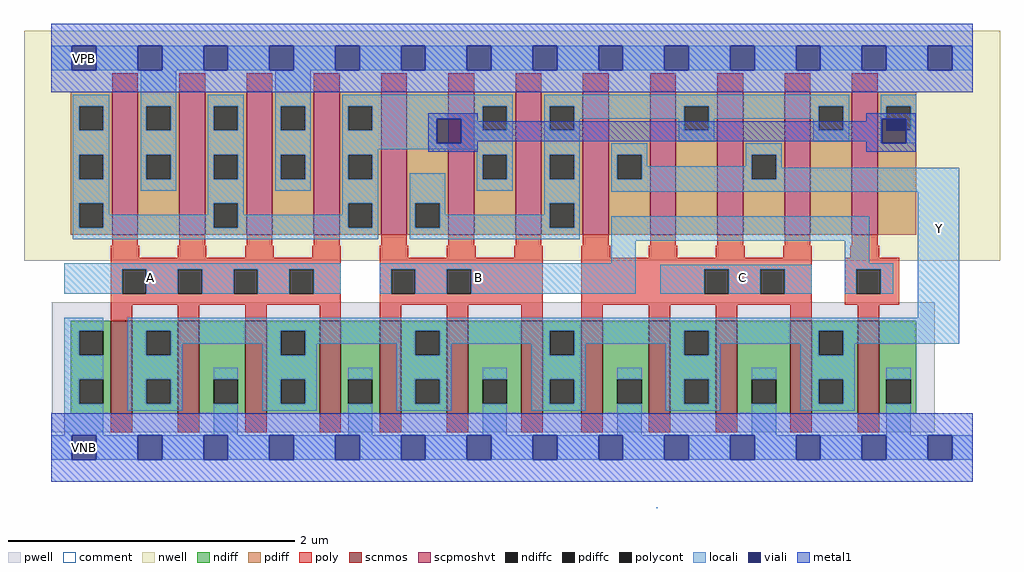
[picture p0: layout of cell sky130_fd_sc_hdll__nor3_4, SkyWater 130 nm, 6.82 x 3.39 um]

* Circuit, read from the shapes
.subckt sky130_fd_sc_hdll__nor3_4 A B C VGND VNB VPB VPWR Y
XM1 Y A VGND VNB sky130_fd_pr__nfet_01v8 w=0.65 l=0.15 m=4
XM2 Y B VGND VNB sky130_fd_pr__nfet_01v8 w=0.65 l=0.15 m=4
XM3 VGND C Y VNB sky130_fd_pr__nfet_01v8 w=0.65 l=0.15 m=4
XM4 VPWR A n1 VPB sky130_fd_pr__pfet_01v8_hvt w=1 l=0.18 m=4
XM5 n2 B n1 VPB sky130_fd_pr__pfet_01v8_hvt w=1 l=0.18 m=4
XM6 Y C n2 VPB sky130_fd_pr__pfet_01v8_hvt w=1 l=0.18 m=4
.ends

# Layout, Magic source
magic
tech sky130A
magscale 1 2
<< nwell >>
rect -38 261 1326 582
<< pwell >>
rect 1 21 1235 203
rect 30 -17 64 21
<< scnmos >>
rect 83 47 113 177
rect 177 47 207 177
rect 271 47 301 177
rect 375 47 405 177
rect 459 47 489 177
rect 553 47 583 177
rect 657 47 687 177
rect 741 47 771 177
rect 835 47 865 177
rect 929 47 959 177
rect 1033 47 1063 177
rect 1127 47 1157 177
<< scpmoshvt >>
rect 85 297 121 497
rect 179 297 215 497
rect 273 297 309 497
rect 367 297 403 497
rect 461 297 497 497
rect 555 297 591 497
rect 649 297 685 497
rect 743 297 779 497
rect 837 297 873 497
rect 931 297 967 497
rect 1025 297 1061 497
rect 1119 297 1155 497
<< ndiff >>
rect 27 163 83 177
rect 27 129 39 163
rect 73 129 83 163
rect 27 95 83 129
rect 27 61 39 95
rect 73 61 83 95
rect 27 47 83 61
rect 113 163 177 177
rect 113 129 133 163
rect 167 129 177 163
rect 113 95 177 129
rect 113 61 133 95
rect 167 61 177 95
rect 113 47 177 61
rect 207 95 271 177
rect 207 61 227 95
rect 261 61 271 95
rect 207 47 271 61
rect 301 163 375 177
rect 301 129 321 163
rect 355 129 375 163
rect 301 95 375 129
rect 301 61 321 95
rect 355 61 375 95
rect 301 47 375 61
rect 405 95 459 177
rect 405 61 415 95
rect 449 61 459 95
rect 405 47 459 61
rect 489 163 553 177
rect 489 129 509 163
rect 543 129 553 163
rect 489 95 553 129
rect 489 61 509 95
rect 543 61 553 95
rect 489 47 553 61
rect 583 95 657 177
rect 583 61 603 95
rect 637 61 657 95
rect 583 47 657 61
rect 687 163 741 177
rect 687 129 697 163
rect 731 129 741 163
rect 687 95 741 129
rect 687 61 697 95
rect 731 61 741 95
rect 687 47 741 61
rect 771 95 835 177
rect 771 61 791 95
rect 825 61 835 95
rect 771 47 835 61
rect 865 163 929 177
rect 865 129 885 163
rect 919 129 929 163
rect 865 95 929 129
rect 865 61 885 95
rect 919 61 929 95
rect 865 47 929 61
rect 959 95 1033 177
rect 959 61 979 95
rect 1013 61 1033 95
rect 959 47 1033 61
rect 1063 163 1127 177
rect 1063 129 1073 163
rect 1107 129 1127 163
rect 1063 95 1127 129
rect 1063 61 1073 95
rect 1107 61 1127 95
rect 1063 47 1127 61
rect 1157 95 1209 177
rect 1157 61 1167 95
rect 1201 61 1209 95
rect 1157 47 1209 61
<< pdiff >>
rect 27 477 85 497
rect 27 443 39 477
rect 73 443 85 477
rect 27 409 85 443
rect 27 375 39 409
rect 73 375 85 409
rect 27 341 85 375
rect 27 307 39 341
rect 73 307 85 341
rect 27 297 85 307
rect 121 477 179 497
rect 121 443 133 477
rect 167 443 179 477
rect 121 409 179 443
rect 121 375 133 409
rect 167 375 179 409
rect 121 297 179 375
rect 215 477 273 497
rect 215 443 227 477
rect 261 443 273 477
rect 215 409 273 443
rect 215 375 227 409
rect 261 375 273 409
rect 215 341 273 375
rect 215 307 227 341
rect 261 307 273 341
rect 215 297 273 307
rect 309 477 367 497
rect 309 443 321 477
rect 355 443 367 477
rect 309 409 367 443
rect 309 375 321 409
rect 355 375 367 409
rect 309 297 367 375
rect 403 477 461 497
rect 403 443 415 477
rect 449 443 461 477
rect 403 409 461 443
rect 403 375 415 409
rect 449 375 461 409
rect 403 341 461 375
rect 403 307 415 341
rect 449 307 461 341
rect 403 297 461 307
rect 497 341 555 497
rect 497 307 509 341
rect 543 307 555 341
rect 497 297 555 307
rect 591 477 649 497
rect 591 443 603 477
rect 637 443 649 477
rect 591 409 649 443
rect 591 375 603 409
rect 637 375 649 409
rect 591 297 649 375
rect 685 477 743 497
rect 685 443 697 477
rect 731 443 743 477
rect 685 409 743 443
rect 685 375 697 409
rect 731 375 743 409
rect 685 341 743 375
rect 685 307 697 341
rect 731 307 743 341
rect 685 297 743 307
rect 779 409 837 497
rect 779 375 791 409
rect 825 375 837 409
rect 779 297 837 375
rect 873 477 931 497
rect 873 443 885 477
rect 919 443 931 477
rect 873 297 931 443
rect 967 409 1025 497
rect 967 375 979 409
rect 1013 375 1025 409
rect 967 297 1025 375
rect 1061 477 1119 497
rect 1061 443 1073 477
rect 1107 443 1119 477
rect 1061 297 1119 443
rect 1155 477 1209 497
rect 1155 443 1167 477
rect 1201 443 1209 477
rect 1155 297 1209 443
<< ndiffc >>
rect 39 129 73 163
rect 39 61 73 95
rect 133 129 167 163
rect 133 61 167 95
rect 227 61 261 95
rect 321 129 355 163
rect 321 61 355 95
rect 415 61 449 95
rect 509 129 543 163
rect 509 61 543 95
rect 603 61 637 95
rect 697 129 731 163
rect 697 61 731 95
rect 791 61 825 95
rect 885 129 919 163
rect 885 61 919 95
rect 979 61 1013 95
rect 1073 129 1107 163
rect 1073 61 1107 95
rect 1167 61 1201 95
<< pdiffc >>
rect 39 443 73 477
rect 39 375 73 409
rect 39 307 73 341
rect 133 443 167 477
rect 133 375 167 409
rect 227 443 261 477
rect 227 375 261 409
rect 227 307 261 341
rect 321 443 355 477
rect 321 375 355 409
rect 415 443 449 477
rect 415 375 449 409
rect 415 307 449 341
rect 509 307 543 341
rect 603 443 637 477
rect 603 375 637 409
rect 697 443 731 477
rect 697 375 731 409
rect 697 307 731 341
rect 791 375 825 409
rect 885 443 919 477
rect 979 375 1013 409
rect 1073 443 1107 477
rect 1167 443 1201 477
<< poly >>
rect 85 497 121 523
rect 179 497 215 523
rect 273 497 309 523
rect 367 497 403 523
rect 461 497 497 523
rect 555 497 591 523
rect 649 497 685 523
rect 743 497 779 523
rect 837 497 873 523
rect 931 497 967 523
rect 1025 497 1061 523
rect 1119 497 1155 523
rect 85 282 121 297
rect 179 282 215 297
rect 273 282 309 297
rect 367 282 403 297
rect 461 282 497 297
rect 555 282 591 297
rect 649 282 685 297
rect 743 282 779 297
rect 837 282 873 297
rect 931 282 967 297
rect 1025 282 1061 297
rect 1119 282 1155 297
rect 83 265 123 282
rect 177 265 217 282
rect 271 265 311 282
rect 365 265 405 282
rect 83 249 405 265
rect 83 215 99 249
rect 133 215 177 249
rect 211 215 255 249
rect 289 215 333 249
rect 367 215 405 249
rect 83 199 405 215
rect 83 177 113 199
rect 177 177 207 199
rect 271 177 301 199
rect 375 177 405 199
rect 459 265 499 282
rect 553 265 593 282
rect 647 265 687 282
rect 459 249 687 265
rect 459 215 475 249
rect 509 215 553 249
rect 587 215 687 249
rect 459 199 687 215
rect 459 177 489 199
rect 553 177 583 199
rect 657 177 687 199
rect 741 265 781 282
rect 835 265 875 282
rect 929 265 969 282
rect 1023 265 1063 282
rect 1117 265 1157 282
rect 741 249 1063 265
rect 741 215 913 249
rect 947 215 991 249
rect 1025 215 1063 249
rect 741 199 1063 215
rect 1109 249 1185 265
rect 1109 215 1125 249
rect 1159 215 1185 249
rect 1109 199 1185 215
rect 741 177 771 199
rect 835 177 865 199
rect 929 177 959 199
rect 1033 177 1063 199
rect 1127 177 1157 199
rect 83 21 113 47
rect 177 21 207 47
rect 271 21 301 47
rect 375 21 405 47
rect 459 21 489 47
rect 553 21 583 47
rect 657 21 687 47
rect 741 21 771 47
rect 835 21 865 47
rect 929 21 959 47
rect 1033 21 1063 47
rect 1127 21 1157 47
<< polycont >>
rect 99 215 133 249
rect 177 215 211 249
rect 255 215 289 249
rect 333 215 367 249
rect 475 215 509 249
rect 553 215 587 249
rect 913 215 947 249
rect 991 215 1025 249
rect 1125 215 1159 249
<< locali >>
rect 0 527 29 561
rect 63 527 121 561
rect 155 527 213 561
rect 247 527 305 561
rect 339 527 397 561
rect 431 527 489 561
rect 523 527 581 561
rect 615 527 673 561
rect 707 527 765 561
rect 799 527 857 561
rect 891 527 949 561
rect 983 527 1041 561
rect 1075 527 1133 561
rect 1167 527 1225 561
rect 1259 527 1288 561
rect 30 477 81 493
rect 30 443 39 477
rect 73 443 81 477
rect 30 409 81 443
rect 30 375 39 409
rect 73 375 81 409
rect 30 341 81 375
rect 125 477 175 527
rect 125 443 133 477
rect 167 443 175 477
rect 125 409 175 443
rect 125 375 133 409
rect 167 375 175 409
rect 125 359 175 375
rect 219 477 269 493
rect 219 443 227 477
rect 261 443 269 477
rect 219 409 269 443
rect 219 375 227 409
rect 261 375 269 409
rect 30 307 39 341
rect 73 325 81 341
rect 219 341 269 375
rect 313 477 363 527
rect 313 443 321 477
rect 355 443 363 477
rect 313 409 363 443
rect 313 375 321 409
rect 355 375 363 409
rect 313 359 363 375
rect 407 477 645 493
rect 407 443 415 477
rect 449 459 603 477
rect 449 443 539 459
rect 407 425 539 443
rect 573 443 603 459
rect 637 443 645 477
rect 573 425 645 443
rect 407 417 645 425
rect 407 409 457 417
rect 407 375 415 409
rect 449 375 457 409
rect 595 409 645 417
rect 219 325 227 341
rect 73 307 227 325
rect 261 325 269 341
rect 407 341 457 375
rect 407 325 415 341
rect 261 307 415 325
rect 449 307 457 341
rect 30 291 457 307
rect 501 341 551 383
rect 595 375 603 409
rect 637 375 645 409
rect 595 359 645 375
rect 689 477 1115 493
rect 689 443 697 477
rect 731 459 885 477
rect 731 443 739 459
rect 689 409 739 443
rect 877 443 885 459
rect 919 459 1073 477
rect 919 443 927 459
rect 877 427 927 443
rect 1065 443 1073 459
rect 1107 443 1115 477
rect 1065 427 1115 443
rect 1159 477 1209 493
rect 1159 459 1167 477
rect 1159 425 1161 459
rect 1201 443 1209 477
rect 1195 425 1209 443
rect 689 375 697 409
rect 731 375 739 409
rect 501 307 509 341
rect 543 325 551 341
rect 689 341 739 375
rect 783 409 833 425
rect 783 375 791 409
rect 825 393 833 409
rect 971 409 1021 425
rect 971 393 979 409
rect 825 375 979 393
rect 1013 391 1021 409
rect 1013 375 1269 391
rect 783 357 1269 375
rect 689 325 697 341
rect 543 307 697 325
rect 731 307 739 341
rect 501 291 739 307
rect 783 289 1143 323
rect 783 257 817 289
rect 18 249 405 257
rect 18 215 99 249
rect 133 215 177 249
rect 211 215 255 249
rect 289 215 333 249
rect 367 215 405 249
rect 459 249 817 257
rect 1109 257 1143 289
rect 459 215 475 249
rect 509 215 553 249
rect 587 215 817 249
rect 851 249 1063 255
rect 851 215 913 249
rect 947 215 991 249
rect 1025 215 1063 249
rect 1109 249 1177 257
rect 1109 215 1125 249
rect 1159 215 1177 249
rect 1211 181 1269 357
rect 18 163 73 181
rect 18 129 39 163
rect 18 95 73 129
rect 18 61 39 95
rect 18 17 73 61
rect 107 163 1269 181
rect 107 129 133 163
rect 167 145 321 163
rect 167 129 183 145
rect 107 95 183 129
rect 295 129 321 145
rect 355 145 509 163
rect 355 129 371 145
rect 107 61 133 95
rect 167 61 183 95
rect 107 51 183 61
rect 227 95 261 111
rect 227 17 261 61
rect 295 95 371 129
rect 483 129 509 145
rect 543 145 697 163
rect 543 129 559 145
rect 295 61 321 95
rect 355 61 371 95
rect 295 51 371 61
rect 415 95 449 111
rect 415 17 449 61
rect 483 95 559 129
rect 671 129 697 145
rect 731 145 885 163
rect 731 129 747 145
rect 483 61 509 95
rect 543 61 559 95
rect 483 51 559 61
rect 603 95 637 111
rect 603 17 637 61
rect 671 95 747 129
rect 859 129 885 145
rect 919 145 1073 163
rect 919 129 935 145
rect 671 61 697 95
rect 731 61 747 95
rect 671 51 747 61
rect 791 95 825 111
rect 791 17 825 61
rect 859 95 935 129
rect 1047 129 1073 145
rect 1107 145 1269 163
rect 1107 129 1123 145
rect 859 61 885 95
rect 919 61 935 95
rect 859 51 935 61
rect 979 95 1013 111
rect 979 17 1013 61
rect 1047 95 1123 129
rect 1047 61 1073 95
rect 1107 61 1123 95
rect 1047 51 1123 61
rect 1167 95 1201 111
rect 1167 17 1201 61
rect 0 -17 29 17
rect 63 -17 121 17
rect 155 -17 213 17
rect 247 -17 305 17
rect 339 -17 397 17
rect 431 -17 489 17
rect 523 -17 581 17
rect 615 -17 673 17
rect 707 -17 765 17
rect 799 -17 857 17
rect 891 -17 949 17
rect 983 -17 1041 17
rect 1075 -17 1133 17
rect 1167 -17 1225 17
rect 1259 -17 1288 17
<< viali >>
rect 29 527 63 561
rect 121 527 155 561
rect 213 527 247 561
rect 305 527 339 561
rect 397 527 431 561
rect 489 527 523 561
rect 581 527 615 561
rect 673 527 707 561
rect 765 527 799 561
rect 857 527 891 561
rect 949 527 983 561
rect 1041 527 1075 561
rect 1133 527 1167 561
rect 1225 527 1259 561
rect 539 425 573 459
rect 1161 443 1167 459
rect 1167 443 1195 459
rect 1161 425 1195 443
rect 29 -17 63 17
rect 121 -17 155 17
rect 213 -17 247 17
rect 305 -17 339 17
rect 397 -17 431 17
rect 489 -17 523 17
rect 581 -17 615 17
rect 673 -17 707 17
rect 765 -17 799 17
rect 857 -17 891 17
rect 949 -17 983 17
rect 1041 -17 1075 17
rect 1133 -17 1167 17
rect 1225 -17 1259 17
<< metal1 >>
rect 0 561 1288 592
rect 0 527 29 561
rect 63 527 121 561
rect 155 527 213 561
rect 247 527 305 561
rect 339 527 397 561
rect 431 527 489 561
rect 523 527 581 561
rect 615 527 673 561
rect 707 527 765 561
rect 799 527 857 561
rect 891 527 949 561
rect 983 527 1041 561
rect 1075 527 1133 561
rect 1167 527 1225 561
rect 1259 527 1288 561
rect 0 496 1288 527
rect 527 459 596 467
rect 527 425 539 459
rect 573 456 596 459
rect 1139 459 1208 467
rect 1139 456 1161 459
rect 573 428 1161 456
rect 573 425 596 428
rect 527 413 596 425
rect 1139 425 1161 428
rect 1195 425 1208 459
rect 1139 413 1208 425
rect 0 17 1288 48
rect 0 -17 29 17
rect 63 -17 121 17
rect 155 -17 213 17
rect 247 -17 305 17
rect 339 -17 397 17
rect 431 -17 489 17
rect 523 -17 581 17
rect 615 -17 673 17
rect 707 -17 765 17
rect 799 -17 857 17
rect 891 -17 949 17
rect 983 -17 1041 17
rect 1075 -17 1133 17
rect 1167 -17 1225 17
rect 1259 -17 1288 17
rect 0 -48 1288 -17
<< comment >>
rect 846 -85 847 -84
<< labels >>
flabel locali s 122 221 156 255 0 FreeSans 400 0 0 0 A
port 1 nsew signal input
flabel locali s 949 221 983 255 0 FreeSans 400 0 0 0 C
port 3 nsew signal input
flabel locali s 580 221 614 255 0 FreeSans 400 0 0 0 B
port 2 nsew signal input
flabel locali s 1225 289 1259 323 0 FreeSans 400 0 0 0 Y
port 8 nsew signal output
flabel nwell s 30 527 64 561 0 FreeSans 200 0 0 0 VPB
port 6 nsew power bidirectional
flabel pwell s 30 -17 64 17 0 FreeSans 200 0 0 0 VNB
port 5 nsew ground bidirectional
flabel metal1 s 30 -17 64 17 0 FreeSans 200 0 0 0 VGND
port 4 nsew ground bidirectional
flabel metal1 s 30 527 64 561 0 FreeSans 200 0 0 0 VPWR
port 7 nsew power bidirectional
rlabel comment s 0 0 0 0 4 nor3_4
<< properties >>
string LEFsite unithd
string LEFclass CORE
string FIXED_BBOX 0 0 1288 544
string GDS_FILE $PDKPATH/libs.ref/sky130_fd_sc_hdll/gds/sky130_fd_sc_hdll.gds
string LEFsymmetry X Y R90
string GDS_END 1307502
string GDS_START 1297610
string LEFproperties maskLayoutSubType "abstract" prCellType "standard" originalViewName "layout"
<< end >>
